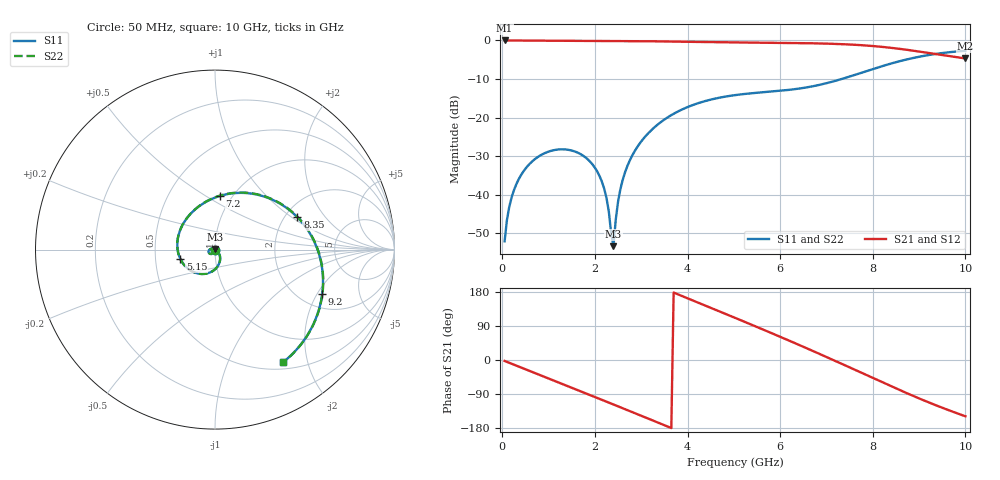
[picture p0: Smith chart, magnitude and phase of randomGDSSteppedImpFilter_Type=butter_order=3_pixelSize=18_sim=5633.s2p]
! freq	dB(S11)	phase(S11)	dB(S12)	phase(S12)
!  dB(S21)	phase(S21)	dB(S22)	phase(S22)
!S-par simulation data
#  GHz  S  DB  R 50
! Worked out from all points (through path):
!   200 points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, 50 MHz to 10 GHz, reference 50 ohm
!   highest |S21| = 0.00 dB at 50 MHz (marker M1); lowest = -4.7 dB at 10 GHz (marker M2)
!   group delay of S21, straight-line fit = 143 ps
!   lowest |S11| = -53.3 dB at 2.4 GHz (marker M3), VSWR 1.00, Z = 50.2 + j0.143 ohm
!   |S11| at or under -10 dB: start of sweep to 7.327 GHz
!   |S22| runs from -53.5 to -2.7 dB; largest |S21 - S12| = 0
!   S11 on the Smith chart (normalised r, x): 50 MHz: 1.00, -0.00; 5.15 GHz: 0.67, -0.07; 7.2 GHz: 0.88, +0.58; 8.35 GHz: 2.33, +1.11; 9.2 GHz: 2.61, -2.21; 10 GHz: 0.59, -1.61
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0.05  -52.07 -82.4  -0.00 -2.5  -0.00 -2.5  -52.07 -82.4
0.1  -46.55 -89.3  -0.01 -4.9  -0.01 -4.9  -46.55 -89.3
0.2  -40.74 -97.3  -0.02 -9.8  -0.02 -9.8  -40.74 -97.3
0.55  -32.52 -117.1  -0.04 -26.9  -0.04 -26.9  -32.52 -117.0
1.15  -28.36 -147.7  -0.07 -56.1  -0.07 -56.1  -28.36 -147.6
1.75  -29.91 -178.5  -0.10 -85.4  -0.10 -85.4  -29.91 -178.3
2.15  -36.59 157.7  -0.12 -105.0  -0.12 -105.0  -36.59 158.0
2.25  -40.84 148.0  -0.13 -109.9  -0.13 -109.9  -40.85 148.3
2.4  -53.33 41.5  -0.14 -117.3  -0.14 -117.3  -53.48 41.1
2.5  -41.77 -18.9  -0.14 -122.3  -0.14 -122.3  -41.78 -19.1
2.7  -32.58 -37.7  -0.16 -132.2  -0.16 -132.2  -32.58 -37.6
3.4  -21.38 -76.0  -0.24 -167.1  -0.24 -167.1  -21.38 -75.8
4.15  -16.59 -114.1  -0.37 155.4  -0.37 155.4  -16.58 -113.7
5.05  -14.13 -159.9  -0.52 110.1  -0.52 110.1  -14.13 -159.3
5.15  -13.98 -165.0  -0.53 105.0  -0.53 105.0  -13.98 -164.4
5.9  -13.16 155.7  -0.62 66.5  -0.62 66.5  -13.16 156.5
6.7  -11.89 112.3  -0.74 24.2  -0.74 24.2  -11.89 113.3
7.2  -10.44 84.7  -0.90 -3.0  -0.90 -3.0  -10.45 85.6
7.7  -8.59 57.0  -1.19 -30.7  -1.19 -30.7  -8.60 57.8
8.35  -6.14 21.5  -1.85 -66.7  -1.85 -66.7  -6.14 22.1
9.2  -3.79 -22.4  -3.24 -111.5  -3.24 -111.5  -3.79 -22.0
10  -2.69 -59.0  -4.67 -148.5  -4.67 -148.5  -2.69 -58.7
